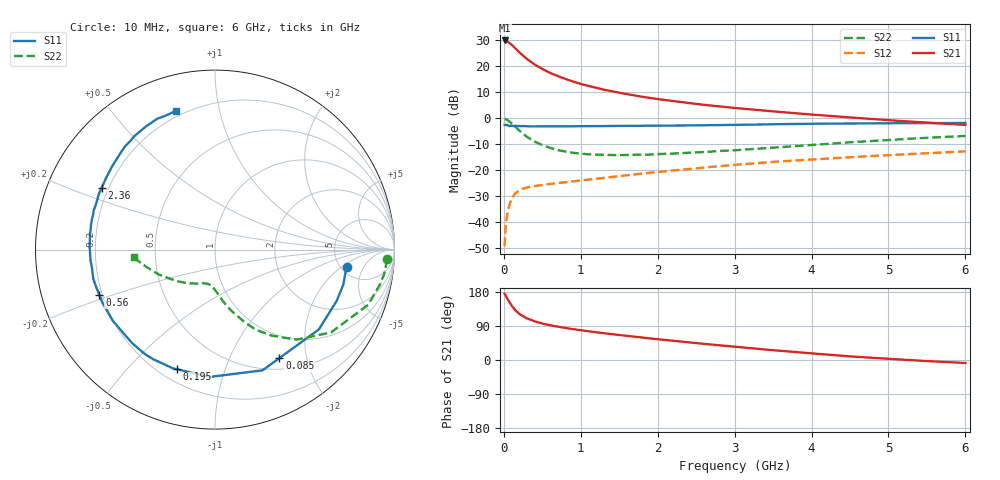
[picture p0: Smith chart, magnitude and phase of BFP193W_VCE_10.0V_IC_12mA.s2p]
! Infineon Technologies  Discrete & RF Semiconductors
! BFP193W
! VCE = 10.0V,  IC =  12 mA
! Common Emitter S-Parameters:  Jan 2016
# GHz  S  MA  R  50
!  f  S11  S21  S12  S22
! GHz  MAG  ANG  MAG  ANG  MAG  ANG  MAG  ANG
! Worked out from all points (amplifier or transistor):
!   210 points, 10 MHz to 6 GHz, reference 50 ohm
!   highest |S21| = 29.7 dB at 10 MHz (marker M1)
!   |S21| within 3 dB of that: start of sweep to 149 MHz
!   unconditionally stable (mu >= 1): 1.298 GHz to 4.48 GHz
!   at 185 MHz: K = 0.24, MSG = 26.9 dB, |S12| = -28.1 dB
!   at 1.52 GHz: K = 1.06, MAG = 14.4 dB, |S12| = -22.2 dB
!   at 6 GHz: K = 0.94, MSG = 5.1 dB, |S12| = -12.8 dB
!   S11 on the Smith chart (normalised r, x): 10 MHz: 5.62, -2.39; 85 MHz: 0.65, -1.56; 195 MHz: 0.27, -0.69; 560 MHz: 0.19, -0.18; 2.36 GHz: 0.17, +0.25; 6 GHz: 0.17, +0.74
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0.01  0.739 -7.5  30.59 174.6  0.0035 77.7  0.961 -3.2
0.02  0.741 -15.3  30.56 171.5  0.0069 77.3  0.9527 -8.2
0.03  0.7356 -22.8  30.16 167.7  0.0103 77.7  0.9392 -12.0
0.05  0.73 -37.5  29.1 159.9  0.0161 71.5  0.9071 -19.8
0.085  0.7029 -59.3  26.29 148.9  0.0245 61.1  0.8214 -30.4
0.1  0.7229 -68.5  25.43 143.6  0.0283 58.6  0.7944 -35.5
0.15  0.7098 -92.2  21.59 130.9  0.0362 49.0  0.676 -47.9
0.195  0.6999 -107.8  18.52 122.9  0.0403 43.5  0.5846 -55.5
0.24  0.701 -119.4  16.12 116.6  0.0436 39.7  0.5148 -61.6
0.3  0.6964 -131.4  13.49 109.8  0.0467 36.5  0.4362 -67.8
0.4  0.694 -145.1  10.6 101.9  0.0496 34.0  0.3545 -74.9
0.5  0.6933 -154.3  8.684 96.1  0.0522 33.3  0.3024 -80.0
0.56  0.6922 -158.4  7.859 93.5  0.0535 33.6  0.2813 -82.2
0.8  0.6929 -171.4  5.576 84.3  0.0589 35.5  0.227 -89.5
1.02  0.6962 -178.9  4.41 78.0  0.0639 38.0  0.206 -94.8
1.4  0.7016 170.9  3.251 68.2  0.0741 41.7  0.1954 -102.0
2.02  0.7116 157.5  2.285 54.5  0.093 45.3  0.2037 -112.2
2.36  0.719 151.4  1.965 47.5  0.1042 45.9  0.2146 -118.0
3.1  0.7413 138.8  1.51 33.3  0.1298 45.0  0.2461 -131.4
4.1  0.7773 124.1  1.135 15.9  0.1642 41.5  0.3098 -149.7
5.1  0.7963 113.0  0.888 1.8  0.1975 36.9  0.3874 -164.8
6  0.8036 105.6  0.739 -8.0  0.2293 32.6  0.4533 -174.5
